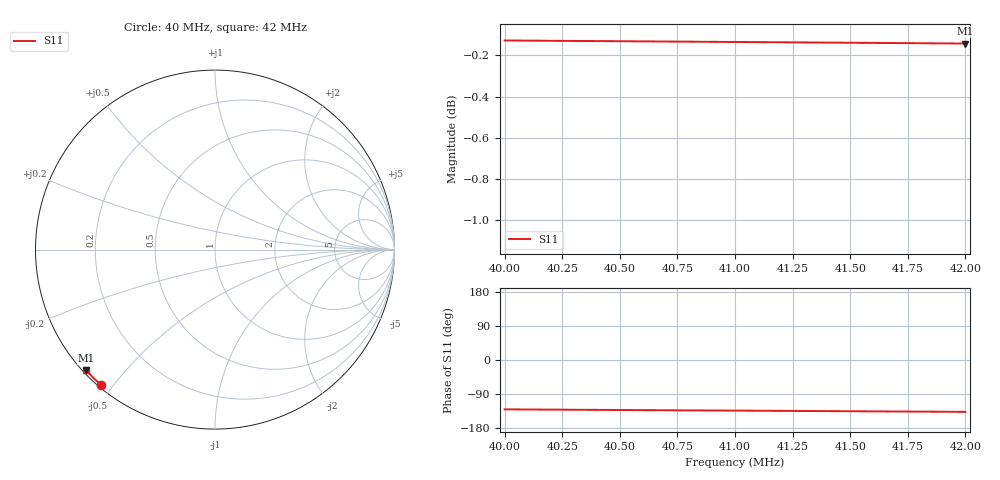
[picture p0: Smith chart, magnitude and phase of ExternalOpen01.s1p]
# Hz S RI R 50
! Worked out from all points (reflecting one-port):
!   9 points, 40 MHz to 42 MHz, reference 50 ohm
!   lowest |S11| = -0.1 dB at 42 MHz (marker M1), VSWR 121.97, Z = 0.474 - j19.8 ohm
!   phase of S11 starts at -130 deg and turns -7 deg over the sweep
4e7  -0.6371 -0.7518
4.025e7  -0.6477 -0.7424
4.05e7  -0.6582 -0.7329
4.075e7  -0.6685 -0.7232
4.1e7  -0.6786 -0.7133
4.125e7  -0.6887 -0.7034
4.15e7  -0.6985 -0.6933
4.175e7  -0.7083 -0.683
4.2e7  -0.7178 -0.6726
